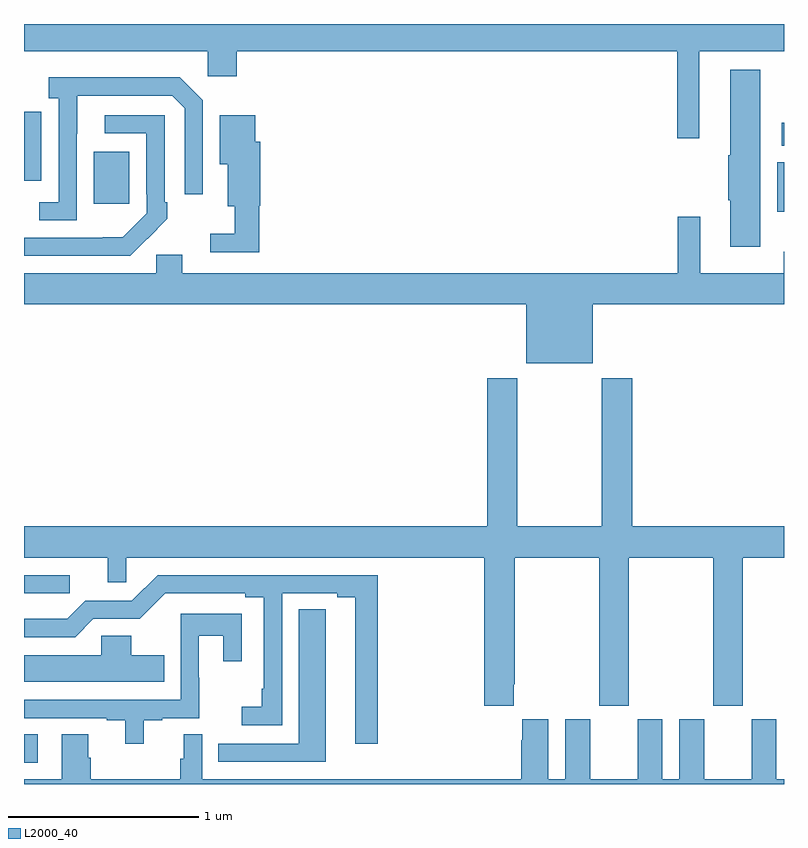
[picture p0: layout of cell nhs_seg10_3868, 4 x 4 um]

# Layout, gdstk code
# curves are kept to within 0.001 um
import gdstk
lib = gdstk.Library(unit=1e-6, precision=1e-09)
def R(c, l, rs):  # rectangles x0, y0, x1, y1
    for r in rs: c.add(gdstk.rectangle(r[:2], r[2:], *l))
def P(c, l, *ps):  # polygons
    for p in ps: c.add(gdstk.Polygon(p, *l))
L2000_40 = (2000, 40)

nhs_seg10_3868 = lib.new_cell('nhs_seg10_3868')
R(nhs_seg10_3868, L2000_40, [(325,1256.613,325.072,1256.762), (328.965,1259.511,329,1259.773), (325.367,1259.553,325.555,1259.827), (328.989,1259.858,329,1259.98)])
P(nhs_seg10_3868, L2000_40, [(328.555,1260.356),(329,1260.356),(329,1260.5),(325,1260.5),(325,1260.356),(325.968,1260.356),(325.968,1260.225),(326.12,1260.225),(326.12,1260.356),(328.438,1260.356),(328.438,1259.898),(328.555,1259.898)],
  [(328.876,1260.259),(328.718,1260.259),(328.718,1259.81),(328.706,1259.81),(328.706,1259.572),(328.718,1259.572),(328.718,1259.328),(328.876,1259.328)],
  [(325.278,1259.923),(325.279,1260.123),(325.779,1260.123),(325.845,1260.057),(325.845,1259.604),(325.941,1259.604),(325.941,1260.099),(325.82,1260.22),(325.131,1260.22),(325.131,1260.11),(325.182,1260.11),(325.182,1259.562),(325.08,1259.562),(325.08,1259.466),(325.278,1259.466)],
  [(325.092,1259.93),(325.091,1259.93),(325.091,1260.039),(325,1260.039),(325,1259.676),(325.092,1259.676)],
  [(325.649,1259.371),(325.65,1259.37),(325.755,1259.475),(325.755,1259.563),(325.74,1259.563),(325.74,1260.021),(325.425,1260.021),(325.425,1259.925),(325.644,1259.925),(325.644,1259.605),(325.647,1259.605),(325.647,1259.505),(325.519,1259.377),(325,1259.376),(325,1259.28),(325.558,1259.28)],
  [(326.237,1259.544),(326.243,1259.544),(326.243,1259.88),(326.218,1259.88),(326.218,1260.019),(326.03,1260.019),(326.03,1259.762),(326.072,1259.762),(326.072,1259.54),(326.109,1259.54),(326.109,1259.395),(325.98,1259.395),(325.98,1259.298),(326.237,1259.298)],
  [(327.994,1259.024),(329,1259.024),(329,1259.301),(328.998,1259.301),(328.998,1259.188),(328.558,1259.188),(328.558,1259.485),(328.441,1259.485),(328.441,1259.188),(325.834,1259.188),(325.834,1259.286),(325.695,1259.286),(325.695,1259.188),(325,1259.188),(325,1259.024),(327.644,1259.024),(327.644,1258.715),(327.994,1258.715)],
  [(327.437,1257.856),(325,1257.856),(325,1257.692),(325.442,1257.692),(325.442,1257.561),(325.538,1257.561),(325.538,1257.692),(327.422,1257.692),(327.422,1256.913),(327.577,1256.913),(327.577,1257.025),(327.582,1257.025),(327.582,1257.692),(328.027,1257.692),(328.027,1256.913),(328.182,1256.913),(328.182,1257.692),(328.627,1257.692),(328.627,1256.913),(328.782,1256.913),(328.782,1257.692),(329,1257.692),(329,1257.856),(328.202,1257.856),(328.202,1258.636),(328.042,1258.636),(328.042,1257.856),(327.597,1257.856),(327.597,1258.636),(327.437,1258.636)],
  [(326.861,1257.6),(325.703,1257.6),(325.568,1257.465),(325.323,1257.465),(325.228,1257.37),(325,1257.37),(325,1257.273),(325.269,1257.273),(325.365,1257.369),(325.609,1257.369),(325.744,1257.504),(326.165,1257.504),(326.165,1257.484),(326.262,1257.484),(326.262,1257.001),(326.25,1257.001),(326.25,1256.907),(326.145,1256.907),(326.145,1256.808),(326.358,1256.808),(326.358,1257.504),(326.648,1257.504),(326.648,1257.484),(326.744,1257.484),(326.744,1256.712),(326.861,1256.712)],
  [(325.127,1257.505),(325.24,1257.505),(325.24,1257.6),(325,1257.6),(325,1257.503),(325.127,1257.503)],
  [(326.587,1257.419),(326.447,1257.419),(326.447,1256.712),(326.023,1256.712),(326.023,1256.616),(326.587,1256.616)],
  [(325.631,1256.835),(325.727,1256.835),(325.727,1256.847),(325.923,1256.847),(325.923,1257.059),(325.92,1257.059),(325.92,1257.28),(326.049,1257.28),(326.049,1257.147),(326.145,1257.147),(326.145,1257.396),(325.824,1257.396),(325.824,1256.943),(325,1256.943),(325,1256.847),(325.436,1256.847),(325.436,1256.835),(325.532,1256.835),(325.532,1256.712),(325.631,1256.712)],
  [(325.739,1257.178),(325.564,1257.178),(325.564,1257.279),(325.407,1257.279),(325.407,1257.178),(325,1257.178),(325,1257.038),(325.739,1257.038)],
  [(327.623,1256.842),(327.623,1256.729),(327.617,1256.729),(327.617,1256.524),(325.938,1256.524),(325.938,1256.761),(325.841,1256.761),(325.841,1256.634),(325.822,1256.634),(325.822,1256.524),(325.352,1256.524),(325.352,1256.637),(325.339,1256.637),(325.339,1256.762),(325.199,1256.762),(325.199,1256.524),(325,1256.524),(325,1256.5),(329,1256.5),(329,1256.524),(328.96,1256.524),(328.96,1256.842),(328.829,1256.842),(328.829,1256.524),(328.579,1256.524),(328.579,1256.842),(328.448,1256.842),(328.448,1256.524),(328.36,1256.524),(328.36,1256.842),(328.229,1256.842),(328.229,1256.524),(327.979,1256.524),(327.979,1256.842),(327.848,1256.842),(327.848,1256.524),(327.76,1256.524),(327.76,1256.842)])

lib.write_gds('nhs_seg10_3868.gds')
